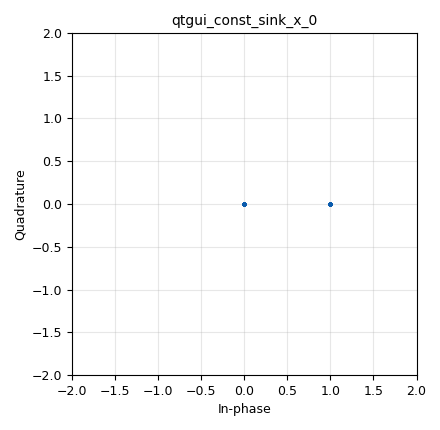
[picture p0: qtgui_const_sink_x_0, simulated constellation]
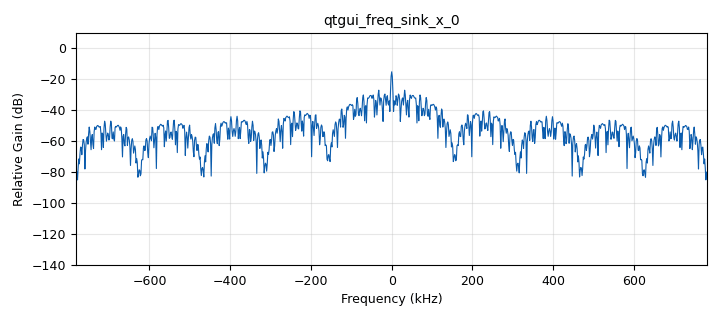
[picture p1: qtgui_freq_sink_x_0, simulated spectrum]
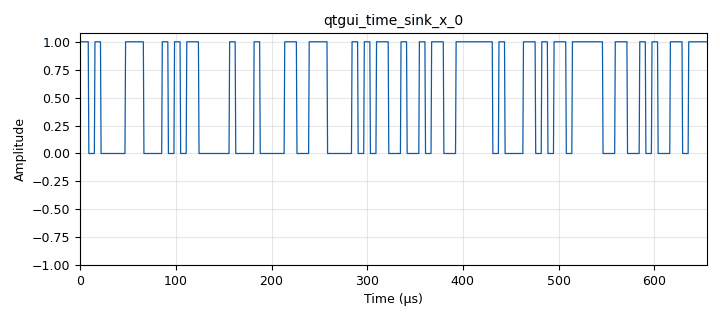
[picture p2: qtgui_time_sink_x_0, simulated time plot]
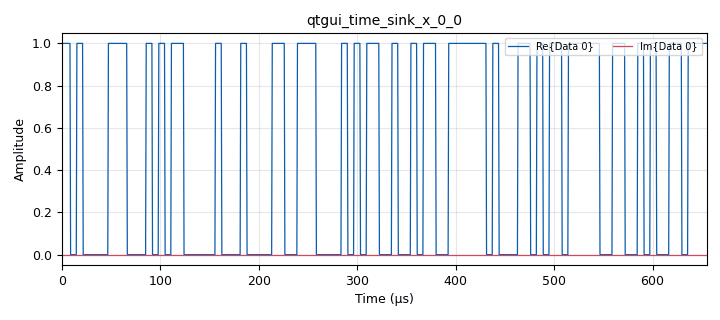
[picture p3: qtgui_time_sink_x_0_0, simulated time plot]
options:
  parameters:
    author: Murillo_Nicolas_Moncada_William
    copyright: UIS
    description: 'Modulacion ASK en gnuradio '
    generate_options: qt_gui
    id: Practica2_labcomu2_BH1
    output_language: python
    title: Modulaciones ASK
  states: {}

blocks:
- name: Ac
  id: variable_qtgui_range
  parameters:
    label: Amplitud de portadora
    start: '0'
    step: '0.1'
    stop: '2'
    value: '1'
  states: {}
- name: DC
  id: variable_qtgui_range
  parameters:
    label: Nivel DC
    start: '-2'
    step: '0.1'
    stop: '2'
    value: '0'
  states: {}
- name: GRX
  id: variable_qtgui_range
  parameters:
    label: Ganancia del RX
    start: '0'
    step: '0.5'
    stop: '31'
    value: '0'
  states: {}
- name: GTX
  id: variable_qtgui_range
  parameters:
    label: ganancia del TX
    start: '0'
    step: '1'
    stop: '30'
    value: '0'
  states: {}
- name: fc
  id: variable_qtgui_range
  parameters:
    label: frecuencia de portadora
    start: 50e6
    step: 1e6
    stop: 2200e6
    value: 50e6
  states: {}
- name: interpolacion
  id: variable_qtgui_range
  parameters:
    label: interpolacion
    rangeType: int
    start: '0'
    step: '1'
    stop: '100'
    value: '10'
  states: {}
- name: ka
  id: variable_qtgui_range
  parameters:
    label: coeficiente de sensibilidad ka
    start: '0'
    step: '0.1'
    stop: '1'
    value: '1'
  states: {}
- name: samp_rate
  id: variable
  parameters:
    value: '1562500'
  states: {}
- name: analog_random_source_x_0
  id: analog_random_source_x
  parameters:
    max: '2'
    min: '0'
    num_samps: '100000'
    repeat: 'True'
    type: byte
  states: {}
- name: blocks_add_const_vxx_0
  id: blocks_add_const_vxx
  parameters:
    const: DC
    type: float
  states: {}
- name: blocks_float_to_complex_0
  id: blocks_float_to_complex
  parameters: {}
  states: {}
- name: blocks_multiply_const_vxx_0
  id: blocks_multiply_const_vxx
  parameters:
    const: ka
    type: float
  states: {}
- name: blocks_multiply_const_vxx_0_0
  id: blocks_multiply_const_vxx
  parameters:
    const: Ac
    type: complex
  states: {}
- name: blocks_null_source_0
  id: blocks_null_source
  parameters:
    type: float
  states: {}
- name: blocks_repeat_0
  id: blocks_repeat
  parameters:
    interp: interpolacion
    type: float
  states: {}
- name: blocks_uchar_to_float_0
  id: blocks_uchar_to_float
  parameters: {}
  states: {}
- name: qtgui_const_sink_x_0
  id: qtgui_const_sink_x
  parameters:
    size: '1024'
    type: complex
  states: {}
- name: qtgui_freq_sink_x_0
  id: qtgui_freq_sink_x
  parameters:
    bw: samp_rate
    fc: '0'
    fftsize: '1024'
    type: complex
  states: {}
- name: qtgui_time_sink_x_0
  id: qtgui_time_sink_x
  parameters:
    size: '1024'
    srate: samp_rate
    type: float
  states: {}
- name: qtgui_time_sink_x_0_0
  id: qtgui_time_sink_x
  parameters:
    autoscale: 'True'
    size: '1024'
    srate: samp_rate
    type: complex
  states: {}
- name: uhd_usrp_sink_0
  id: uhd_usrp_sink
  parameters:
    ant0: '"TX/RX"'
    center_freq0: fc
    gain0: GTX
    samp_rate: samp_rate
    sync: pc_clock
    type: fc32
  states: {}

connections:
- [analog_random_source_x_0, '0', blocks_uchar_to_float_0, '0']
- [blocks_add_const_vxx_0, '0', blocks_float_to_complex_0, '0']
- [blocks_add_const_vxx_0, '0', qtgui_time_sink_x_0, '0']
- [blocks_float_to_complex_0, '0', blocks_multiply_const_vxx_0_0, '0']
- [blocks_multiply_const_vxx_0, '0', blocks_add_const_vxx_0, '0']
- [blocks_multiply_const_vxx_0_0, '0', qtgui_const_sink_x_0, '0']
- [blocks_multiply_const_vxx_0_0, '0', qtgui_freq_sink_x_0, '0']
- [blocks_multiply_const_vxx_0_0, '0', qtgui_time_sink_x_0_0, '0']
- [blocks_multiply_const_vxx_0_0, '0', uhd_usrp_sink_0, '0']
- [blocks_null_source_0, '0', blocks_float_to_complex_0, '1']
- [blocks_repeat_0, '0', blocks_multiply_const_vxx_0, '0']
- [blocks_uchar_to_float_0, '0', blocks_repeat_0, '0']

metadata:
  file_format: 1
